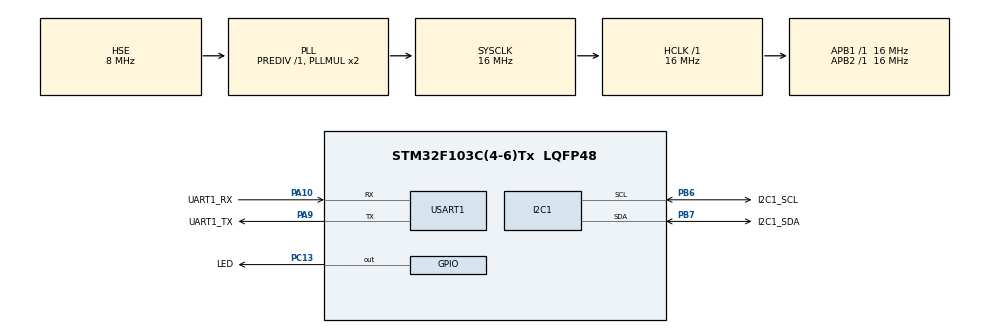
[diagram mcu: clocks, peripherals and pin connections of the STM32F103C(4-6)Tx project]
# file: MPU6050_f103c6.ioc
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Mcu.Family=STM32F1
Mcu.Name=STM32F103C(4-6)Tx
Mcu.Package=LQFP48
NVIC.I2C1_ER_IRQn=true\:0\:0\:false\:false\:true\:true\:true\:true
NVIC.I2C1_EV_IRQn=true\:0\:0\:false\:false\:true\:true\:true\:true
NVIC.PriorityGroup=NVIC_PRIORITYGROUP_4
NVIC.USART1_IRQn=true\:0\:0\:false\:false\:true\:true\:true\:true
PA10.GPIO_Label=UART1_RX
PA10.Mode=Asynchronous
PA10.Signal=USART1_RX
PA13.Mode=Serial_Wire
PA13.Signal=SYS_JTMS-SWDIO
PA14.Mode=Serial_Wire
PA14.Signal=SYS_JTCK-SWCLK
PA9.GPIO_Label=UART1_TX
PA9.Mode=Asynchronous
PA9.Signal=USART1_TX
PB6.GPIO_Label=I2C1_SCL
PB6.Mode=I2C
PB6.Signal=I2C1_SCL
PB7.GPIO_Label=I2C1_SDA
PB7.Mode=I2C
PB7.Signal=I2C1_SDA
PC13-TAMPER-RTC.GPIO_Label=LED
PC13-TAMPER-RTC.PinState=GPIO_PIN_SET
PC13-TAMPER-RTC.Signal=GPIO_Output
PD0-OSC_IN.Mode=HSE-External-Oscillator
PD0-OSC_IN.Signal=RCC_OSC_IN
PD1-OSC_OUT.Mode=HSE-External-Oscillator
PD1-OSC_OUT.Signal=RCC_OSC_OUT
ProjectManager.HeapSize=0x200
ProjectManager.StackSize=0x400
ProjectManager.TargetToolchain=MDK-ARM V5.32
RCC.AHBFreq_Value=16000000
RCC.APB1Freq_Value=16000000
RCC.APB1TimFreq_Value=16000000
RCC.APB2Freq_Value=16000000
RCC.APB2TimFreq_Value=16000000
RCC.HCLKFreq_Value=16000000
RCC.PLLSourceVirtual=RCC_PLLSOURCE_HSE
RCC.SYSCLKFreq_VALUE=16000000
RCC.SYSCLKSource=RCC_SYSCLKSOURCE_PLLCLK
RCC.USBFreq_Value=16000000
USART1.VirtualMode=VM_ASYNC
board=custom

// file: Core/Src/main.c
/* USER CODE BEGIN Header */
/**
  ******************************************************************************
  * @file           : main.c
  * @brief          : Main program body
  ******************************************************************************
  * @attention
  *
  * Copyright (c) 2023 STMicroelectronics.
  * All rights reserved.
  *
  * This software is licensed under terms that can be found in the LICENSE file
  * in the root directory of this software component.
  * If no LICENSE file comes with this software, it is provided AS-IS.
  *
  ******************************************************************************
  */
/* USER CODE END Header */
#include "main.h"
#include "i2c.h"
#include "usart.h"
#include "gpio.h"

void SystemClock_Config(void);

/* USER CODE BEGIN 0 */

extern IMU_t imu_data;

extern volatile fp32 q[4];

//fp32 q[4];

//extern IMU_Kalman_t imu_kalman_data;  //待写

/* USER CODE END 0 */

int main(void)
{

  /* MCU Configuration--------------------------------------------------------*/

  /* Reset of all peripherals, Initializes the Flash interface and the Systick. */
  HAL_Init();

  /* Configure the system clock */
  SystemClock_Config();

  /* Initialize all configured peripherals */
  MX_GPIO_Init();
  MX_I2C1_Init();
  MX_USART1_UART_Init();
  /* USER CODE BEGIN 2 */

	//查询地址，并检测设备是否正常
	I2C_Search_Addr();

	//初始化MPU6050
  MPU6050_Init();

	//等待设备初始化，可以改时间
	HAL_GPIO_TogglePin (LED_GPIO_Port ,LED_Pin); //指示灯
	HAL_Delay(IMU_INIT_WAITING_TIME);
	HAL_GPIO_TogglePin (LED_GPIO_Port ,LED_Pin); //指示灯
	HAL_Delay(IMU_INIT_WAITING_TIME);
	HAL_GPIO_TogglePin (LED_GPIO_Port ,LED_Pin); //指示灯
	HAL_Delay(IMU_INIT_WAITING_TIME);

  /* USER CODE END 2 */

  /* Infinite loop */
  while (1)
  {

    /* USER CODE BEGIN 3 */
		MPU6050_Read_All();
		imu_data.Magnet.X = 0;
		imu_data.Magnet.Y = 0;
		imu_data.Magnet.Z = 0;
		MahonyAHRSupdate(&imu_data);
		get_angle((fp32*)q,&imu_data);

		printf("\r\nAx=%.6f,Ay=%.6f,Az=%.6f\r\n",imu_data.Accel.X,imu_data.Accel.Y,imu_data.Accel.Z);
	  printf("\r\nGx=%.6f,Gy=%.6f,Gz=%.6f\r\n",imu_data.Gyro.X,imu_data.Gyro.Y,imu_data.Gyro.Z);
		printf("\r\nMx=%.6f,My=%.6f,Mz=%.6f\r\n",imu_data.Magnet.X,imu_data.Magnet.Y,imu_data.Magnet.Z);
		printf("\r\nYaw=%.6f,Pitch=%.6f,Roll=%.6f\r\n",imu_data.Euler.yaw,imu_data.Euler.pitch,imu_data.Euler.roll);
	  printf ("\r\nTemperature=%.6f\r\n",imu_data.Temp);
		HAL_Delay(100);
  }
  /* USER CODE END 3 */
}

void SystemClock_Config(void)
{
  RCC_OscInitTypeDef RCC_OscInitStruct = {0};
  RCC_ClkInitTypeDef RCC_ClkInitStruct = {0};

  /** Initializes the RCC Oscillators according to the specified parameters
  * in the RCC_OscInitTypeDef structure.
  */
  RCC_OscInitStruct.OscillatorType = RCC_OSCILLATORTYPE_HSE;
  RCC_OscInitStruct.HSEState = RCC_HSE_ON;
  RCC_OscInitStruct.HSEPredivValue = RCC_HSE_PREDIV_DIV1;
  RCC_OscInitStruct.HSIState = RCC_HSI_ON;
  RCC_OscInitStruct.PLL.PLLState = RCC_PLL_ON;
  RCC_OscInitStruct.PLL.PLLSource = RCC_PLLSOURCE_HSE;
  RCC_OscInitStruct.PLL.PLLMUL = RCC_PLL_MUL2;
  if (HAL_RCC_OscConfig(&RCC_OscInitStruct) != HAL_OK)
  {
    Error_Handler();
  }

  /** Initializes the CPU, AHB and APB buses clocks
  */
  RCC_ClkInitStruct.ClockType = RCC_CLOCKTYPE_HCLK|RCC_CLOCKTYPE_SYSCLK
                              |RCC_CLOCKTYPE_PCLK1|RCC_CLOCKTYPE_PCLK2;
  RCC_ClkInitStruct.SYSCLKSource = RCC_SYSCLKSOURCE_PLLCLK;
  RCC_ClkInitStruct.AHBCLKDivider = RCC_SYSCLK_DIV1;
  RCC_ClkInitStruct.APB1CLKDivider = RCC_HCLK_DIV1;
  RCC_ClkInitStruct.APB2CLKDivider = RCC_HCLK_DIV1;

  if (HAL_RCC_ClockConfig(&RCC_ClkInitStruct, FLASH_LATENCY_0) != HAL_OK)
  {
    Error_Handler();
  }
}

void Error_Handler(void)
{
  __disable_irq();
  while (1)
  {
  }
}
